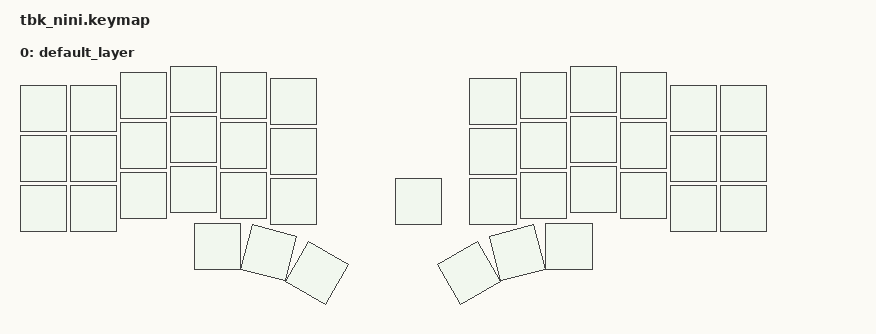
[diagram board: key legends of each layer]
/*
 * The halves are peripherals: they only report key positions to the dongle,
 * which runs the real keymap (config/corne_dongle.keymap). This keymap only
 * exists so the half builds have one.
 */

#include <behaviors.dtsi>

/ {
    keymap {
        compatible = "zmk,keymap";

        default_layer {
            bindings = <
&none &none &none &none &none &none  &none &none &none &none &none &none
&none &none &none &none &none &none  &none &none &none &none &none &none
&none &none &none &none &none &none  &none &none &none &none &none &none
                  &none &none &none  &none &none &none &none
            >;
        };
    };
};
